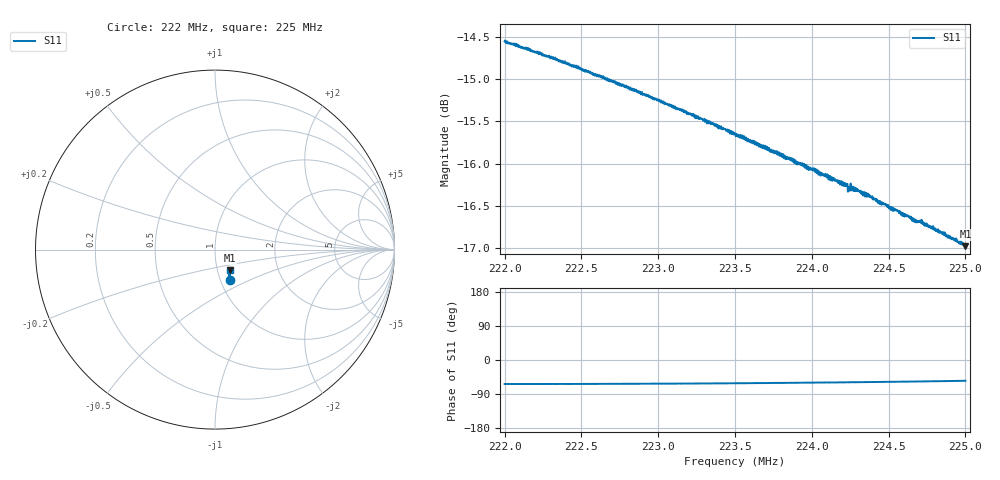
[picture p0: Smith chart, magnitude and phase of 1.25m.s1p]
! Calibrated averaged scanner-service zoom
# Hz S RI R 50
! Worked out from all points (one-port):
!   1001 points, 222 MHz to 225 MHz, reference 50 ohm
!   lowest |S11| = -17.0 dB at 225 MHz (marker M1), VSWR 1.33, Z = 57.2 - j13.5 ohm
!   |S11| at or under -10 dB: start of sweep to end of sweep
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2.22e8  0.0841 -0.1672
2.2215e8  0.0833 -0.1655
2.22375e8  0.0816 -0.1625
2.2275e8  0.0802 -0.157
2.22867e8  0.0805 -0.1555
2.23125e8  0.0792 -0.1512
2.23362e8  0.0793 -0.1472
2.235e8  0.079 -0.1448
2.238e8  0.079 -0.1396
2.23833e8  0.0788 -0.1387
2.23875e8  0.0797 -0.1383
2.23908e8  0.0789 -0.1373
2.2395e8  0.0797 -0.137
2.23983e8  0.0789 -0.136
2.24025e8  0.0798 -0.1356
2.24058e8  0.079 -0.1345
2.24091e8  0.0794 -0.1343
2.24187e8  0.0794 -0.1323
2.24217e8  0.0798 -0.1321
2.2425e8  0.0795 -0.1311
2.24295e8  0.0796 -0.1303
2.24337e8  0.0797 -0.1296
2.2437e8  0.0798 -0.1289
2.24514e8  0.0799 -0.1258
2.24625e8  0.0804 -0.1239
2.24664e8  0.0802 -0.1229
2.24712e8  0.0807 -0.122
2.25e8  0.0816 -0.1158
